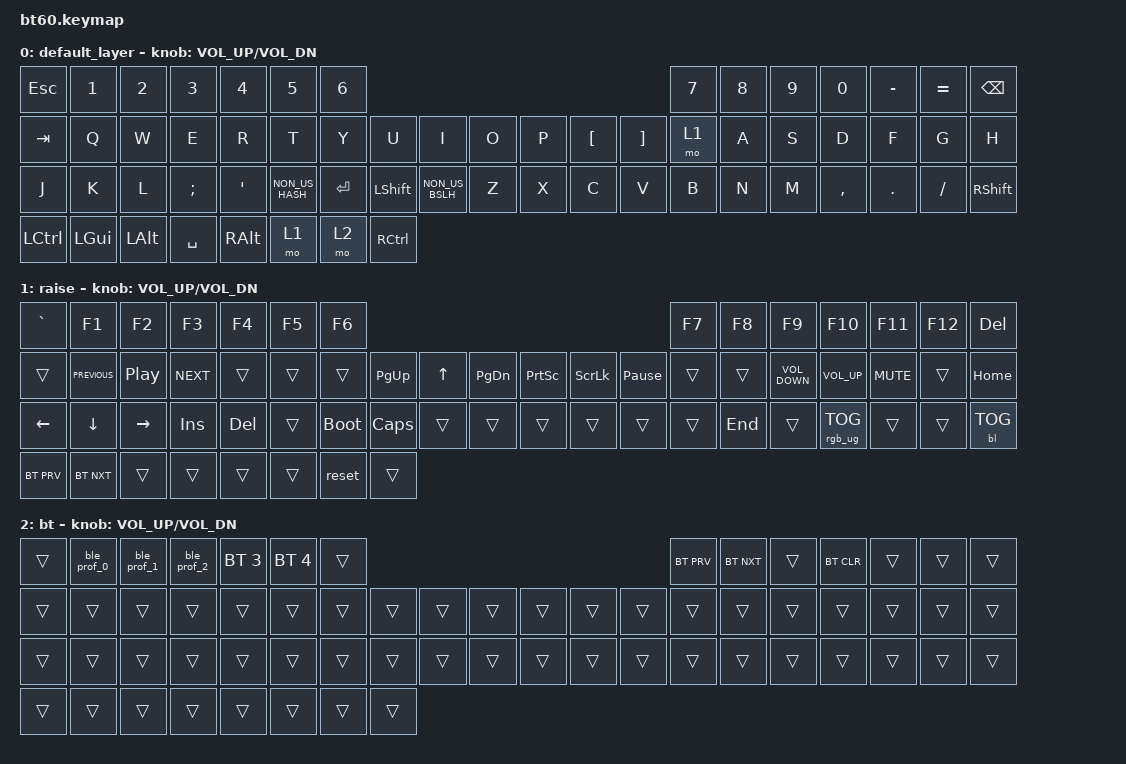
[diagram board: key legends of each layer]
#include <behaviors.dtsi>
#include <dt-bindings/zmk/keys.h>
#include <dt-bindings/zmk/bt.h>
#include <dt-bindings/zmk/rgb.h>
#include <dt-bindings/zmk/backlight.h>

/ {
	macros {
		ble_prof_0: ble_prof_0 {
			label = "ZM_ble_prof_0";
			compatible = "zmk,behavior-macro";
			#binding-cells = <0>;
			bindings
				= <&macro_press &bt BT_SEL 0>
				, <&macro_press &rgb_ug RGB_COLOR_HSB(262,100,50)>
				, <&macro_press &rgb_ug RGB_ON>
				, <&macro_wait_time 1000>
				, <&macro_press &rgb_ug RGB_OFF>
				;
			};
		ble_prof_1: ble_prof_1 {
			label = "ZM_ble_prof_1";
			compatible = "zmk,behavior-macro";
			#binding-cells = <0>;
			bindings
				= <&macro_press &bt BT_SEL 1>
				, <&macro_press &rgb_ug RGB_COLOR_HSB(128,100,50)>
				, <&macro_press &rgb_ug RGB_ON>
				, <&macro_wait_time 1000>
				, <&macro_press &rgb_ug RGB_OFF>
				;
			};
		ble_prof_2: ble_prof_2 {
			label = "ZM_ble_prof_2";
			compatible = "zmk,behavior-macro";
			#binding-cells = <0>;
			bindings
				= <&macro_press &bt BT_SEL 2>
				, <&macro_press &rgb_ug RGB_COLOR_HSB(240,100,50)>
				, <&macro_press &rgb_ug RGB_ON>
				, <&macro_wait_time 1000>
				, <&macro_press &rgb_ug RGB_OFF>
				;
			};
		};
			
	keymap {
		compatible = "zmk,keymap";

		default_layer {
				// ------------------------------------------------------------------------------------------
				// |  `  |  1  |  2  |  3  |  4  |  5  |  6  |  7  |  8  |  9  |  0  |  -  |  =  |   BKSP
				// | TAB  |  Q  |  W  |  E  |  R  |  T  |  Y  |  U  |  I  |  O  |  P  |  [  |  ]  |        |
				// | CAPS  |  A  |  S  |  D  |  F  |  G  |  H  |  J  |  K  |  L  |  ;  |  '  |  #  | ENTER |
				// |  SHIFT|  \ |  Z  |  X  |  C  |  V  |  B  |  N  |  M  |  ,  |  .  | /   |    SHIFT    |
				// |  CTL  |  WIN  |  ALT  |            SPACE               | ALT | 1    |  MENU    |  CTRL|
				// ------------------------------------------------------------------------------------------
			bindings = <

				&kp ESC &kp N1 &kp N2 &kp N3 &kp N4 &kp N5 &kp N6 &kp N7 &kp  N8   &kp  N9 &kp  N0  &kp MINUS &kp EQUAL &kp BSPC
				&kp TAB  &kp Q  &kp W  &kp E  &kp R  &kp T  &kp Y  &kp U  &kp  I    &kp  O  &kp  P   &kp LBKT &kp RBKT
				&mo 1  &kp A  &kp S  &kp D  &kp F  &kp G  &kp H  &kp J  &kp  K    &kp  L  &kp SEMI &kp SQT &kp NON_US_HASH  &kp RET
				&kp LSHFT &kp NON_US_BSLH &kp Z  &kp X  &kp C  &kp V  &kp B  &kp N  &kp M  &kp COMMA &kp DOT &kp FSLH         &kp RSHFT
				&kp LCTRL &kp LGUI &kp LALT            &kp SPACE                          &kp RALT  &mo 1 &mo 2    &kp RCTRL
			>;
			sensor-bindings = <&inc_dec_kp C_VOL_UP C_VOL_DN>;
		};
		raise {
			bindings = <
				&kp GRAVE &kp F1 &kp F2 &kp F3 &kp F4 &kp F5 &kp F6 &kp F7 &kp F8 &kp F9 &kp F10 &kp F11 &kp F12 &kp DEL 
				&trans &kp C_PREVIOUS &kp C_PLAY_PAUSE &kp C_NEXT &trans &trans &trans &kp PAGE_UP &kp UP_ARROW &kp PAGE_DOWN &kp PSCRN &kp SLCK &kp PAUSE_BREAK 
				&trans &trans &kp C_VOLUME_DOWN &kp C_VOLUME_UP &kp C_MUTE &trans &kp HOME &kp LEFT &kp DOWN &kp RIGHT &kp INS &kp DEL &trans &bootloader 
				&kp CAPSLOCK &trans &trans &trans &trans &trans &trans &kp END &trans &rgb_ug RGB_TOG &trans &trans &bl BL_TOG 
				&bt BT_PRV &bt BT_NXT &trans &trans &trans &trans &reset &trans
			>;
			sensor-bindings = <&inc_dec_kp C_VOL_UP C_VOL_DN>;
		};
		bt {
			bindings = <
				&trans &ble_prof_0 &ble_prof_1 &ble_prof_2 &bt BT_SEL 3 &bt BT_SEL 4 &trans &bt BT_PRV &bt BT_NXT &trans &bt BT_CLR &trans &trans &trans 
				&trans &trans &trans &trans &trans &trans &trans &trans &trans &trans &trans &trans &trans &trans &trans &trans &trans &trans &trans &trans 
				&trans &trans &trans &trans &trans &trans &trans &trans &trans &trans &trans &trans &trans &trans &trans &trans &trans &trans &trans &trans 
				&trans &trans &trans &trans &trans &trans &trans &trans
			>;
			sensor-bindings = <&inc_dec_kp C_VOL_UP C_VOL_DN>;
		};
	};
};
